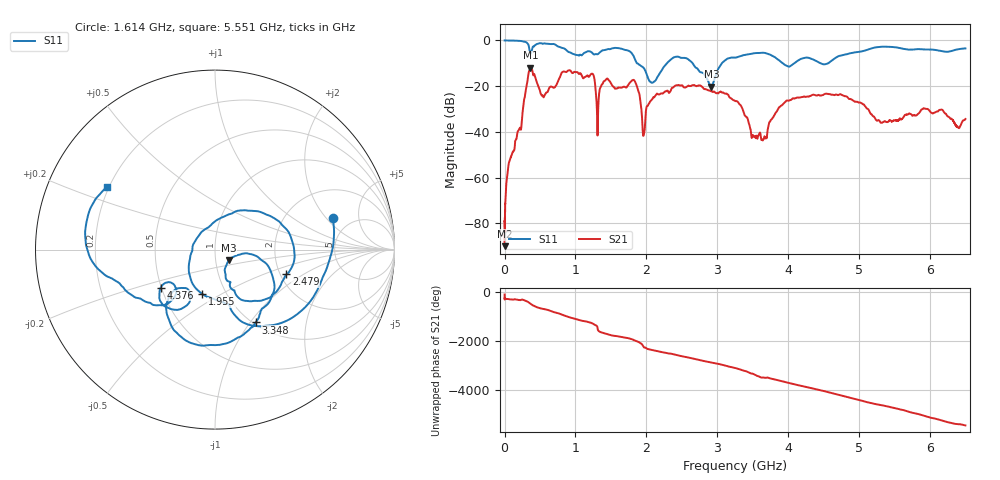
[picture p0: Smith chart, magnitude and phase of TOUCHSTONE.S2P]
!Keysight Technologies,E5063A,MY54503115,A.05.08
!Date: Fri Oct 20 10:03:29 2023
!Data & Calibration Information:
!Freq	S11:NONE(--)	S21:NONE(--)	S12:NONE(--)	S22:NONE(--)
# Hz S dB R 50
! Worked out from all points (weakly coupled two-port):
!   10001 points, 300 kHz to 6.5 GHz, reference 50 ohm
!   highest |S21| = -11.88 dB at 364.9 MHz (marker M1); lowest = -89.9 dB at 2.25 MHz (marker M2)
!   lowest |S11| = -20.3 dB at 2.916 GHz (marker M3), VSWR 1.21, Z = 57.7 - j7.06 ohm
!   |S11| at or under -10 dB: 1.87 GHz to 2.288 GHz (418.5 MHz wide, 20.1 % of centre); 2.654 GHz to 3.064 GHz (410 MHz wide, 14.3 % of centre); 3.924 GHz to 4.088 GHz (163.7 MHz wide, 4.09 % of centre) (the widest 3 of 4)
!   S12 and S22 are empty: the file has one direction only
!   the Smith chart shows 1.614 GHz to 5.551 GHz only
!   S11 on the Smith chart (normalised r, x): 1.614 GHz: 3.62, +2.34; 1.955 GHz: 0.77, -0.41; 2.479 GHz: 2.15, -0.72; 3.348 GHz: 1.03, -1.07; 4.376 GHz: 0.50, -0.24; 5.551 GHz: 0.19, +0.26
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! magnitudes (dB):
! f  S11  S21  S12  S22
! 300 kHz  0.0  -79.1  -  -
! 2.25 MHz  0.0  -89.9  -  -
! 59.45 MHz  0.0  -53.6  -  -
! 364.9 MHz  -5.8  -11.9  -  -
! 540.4 MHz  -1.5  -24.2  -  -
! 1.084 GHz  -6.5  -15.0  -  -
! 1.242 GHz  -5.6  -14.6  -  -
! 1.313 GHz  -6.0  -39.2  -  -
! 1.614 GHz  -3.4  -20.7  -  -
! 1.837 GHz  -8.1  -17.8  -  -
! 1.955 GHz  -11.8  -41.7  -  -
! 2.167 GHz  -15.3  -23.6  -  -
! 2.479 GHz  -7.5  -19.7  -  -
! 2.916 GHz  -20.3  -22.3  -  -
! 3.25 GHz  -7.5  -26.4  -  -
! 3.348 GHz  -6.6  -29.4  -  -
! 3.65 GHz  -5.4  -43.2  -  -
! 4.334 GHz  -8.1  -23.9  -  -
! 4.376 GHz  -8.7  -23.8  -  -
! 5.417 GHz  -2.7  -35.4  -  -
! 5.551 GHz  -3.2  -34.9  -  -
! 6.5 GHz  -3.5  -34.3  -  -
